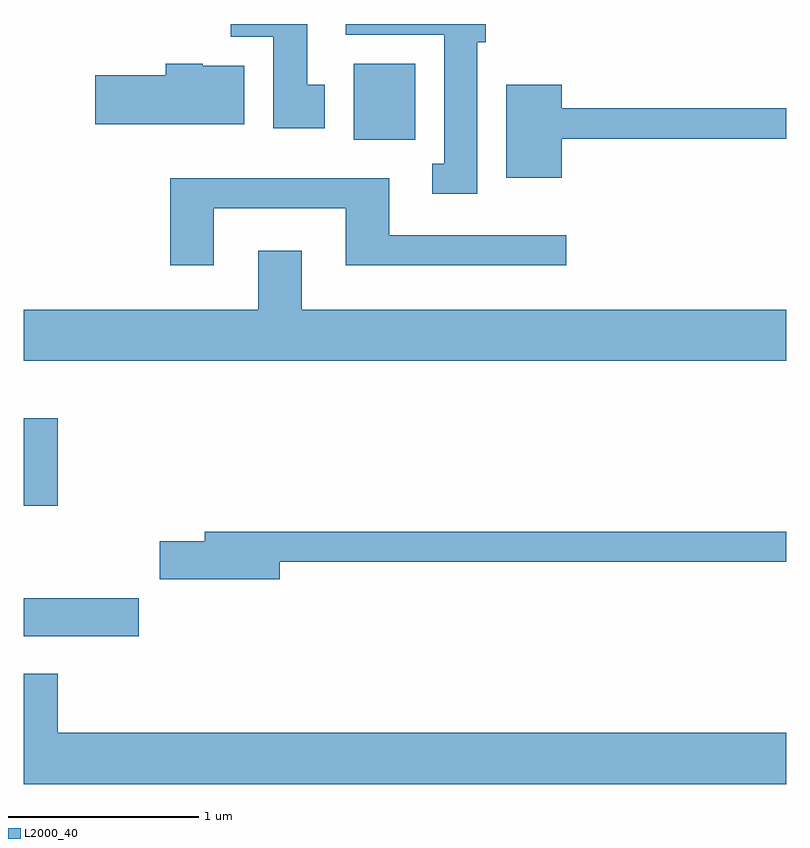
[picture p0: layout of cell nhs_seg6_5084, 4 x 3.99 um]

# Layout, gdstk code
import gdstk
lib = gdstk.Library(unit=1e-6, precision=1e-09)
def R(c, l, rs):  # rectangles x0, y0, x1, y1
    for r in rs: c.add(gdstk.rectangle(r[:2], r[2:], *l))
def P(c, l, *ps):  # polygons
    for p in ps: c.add(gdstk.Polygon(p, *l))
L2000_40 = (2000, 40)

nhs_seg6_5084 = lib.new_cell('nhs_seg6_5084')
R(nhs_seg6_5084, L2000_40, [(339.611,1632.951,340.214,1633.149), (339.611,1633.636,339.789,1634.094), (341.341,1635.556,341.664,1635.954)])
P(nhs_seg6_5084, L2000_40, [(341.189,1635.844),(341.099,1635.844),(341.099,1636.162),(340.696,1636.162),(340.696,1636.096),(340.921,1636.096),(340.921,1635.616),(341.189,1635.616)],
  [(341.989,1636.066),(342.034,1636.066),(342.034,1636.162),(341.301,1636.162),(341.301,1636.106),(341.816,1636.106),(341.816,1635.429),(341.753,1635.429),(341.753,1635.271),(341.989,1635.271)],
  [(340.769,1635.944),(340.55,1635.944),(340.55,1635.954),(340.356,1635.954),(340.356,1635.894),(339.986,1635.894),(339.986,1635.636),(340.769,1635.636)],
  [(342.434,1635.561),(343.611,1635.561),(343.611,1635.719),(342.434,1635.719),(342.434,1635.844),(342.141,1635.844),(342.141,1635.356),(342.434,1635.356)],
  [(340.609,1635.196),(341.301,1635.196),(341.301,1634.896),(342.458,1634.896),(342.458,1635.054),(341.529,1635.054),(341.529,1635.354),(340.381,1635.354),(340.381,1634.896),(340.609,1634.896)],
  [(343.611,1634.664),(341.069,1634.664),(341.069,1634.974),(340.841,1634.974),(340.841,1634.664),(339.611,1634.664),(339.611,1634.396),(343.611,1634.396)],
  [(340.954,1633.341),(343.611,1633.341),(343.611,1633.499),(340.561,1633.499),(340.561,1633.449),(340.326,1633.449),(340.326,1633.251),(340.954,1633.251)],
  [(343.611,1632.444),(339.789,1632.444),(339.789,1632.754),(339.611,1632.754),(339.611,1632.176),(343.611,1632.176)])

lib.write_gds('nhs_seg6_5084.gds')
